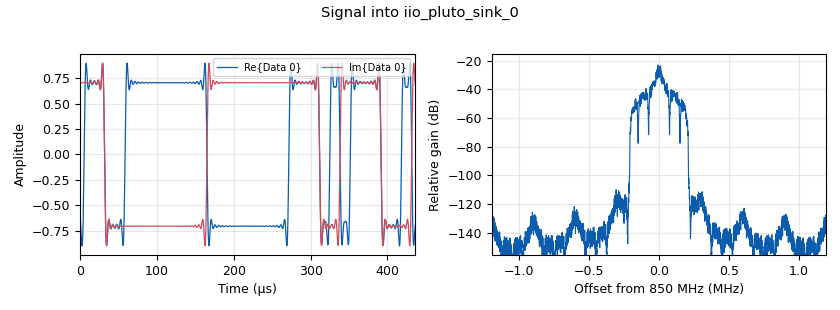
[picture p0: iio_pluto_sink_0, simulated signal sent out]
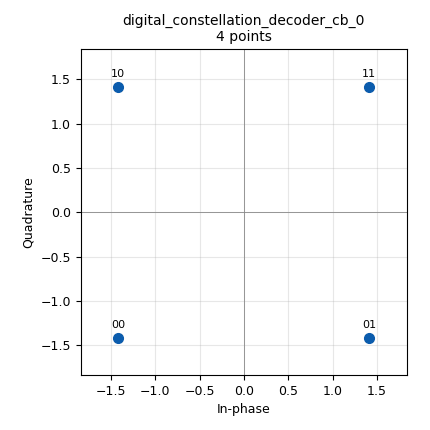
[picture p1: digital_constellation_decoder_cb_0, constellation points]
options:
  parameters:
    author: emmanuelkwakyenyantakyi
    generate_options: qt_gui
    id: msg_over_qpsk_6_5
    output_language: python
    title: Packet generation and reception over QPSK modem
  states: {}

blocks:
- name: audio_rate
  id: variable
  parameters:
    value: 44.1e3
  states: {}
- name: my_const_qpsk
  id: variable_constellation
  parameters:
    precision: '8'
    type: qpsk
  states: {}
- name: nfilts
  id: variable
  parameters:
    value: '16'
  states: {}
- name: rcv_len_key
  id: variable
  parameters:
    value: '"rcv_len_key"'
  states: {}
- name: rrc_taps
  id: variable
  parameters:
    value: firdes.root_raised_cosine(nfilts, nfilts * sps, 1.0, 0.4, int(5 * sps * nfilts))
  states: {}
- name: samp_rate
  id: variable
  parameters:
    value: 2.4e6
  states: {}
- name: sps
  id: variable
  parameters:
    value: '8'
  states: {}
- name: tr_len_key
  id: variable
  parameters:
    value: '"tr_len_key"'
  states: {}
- name: analog_agc_xx_0
  id: analog_agc_xx
  parameters:
    gain: '1.0'
    max_gain: '65536'
    rate: '1e-4'
    reference: '1.0'
    type: complex
  states: {}
- name: blocks_message_debug_0
  id: blocks_message_debug
  parameters: {}
  states: {}
- name: blocks_message_strobe_0
  id: blocks_message_strobe
  parameters:
    comment: Generate payload message
    msg: pmt.cons( pmt.make_dict(), pmt.to_pmt( numpy.array( [ord(c) for c in "To perfectly record and recreate a signal, you must sample it at least twice as fast as its highest frequency."], dtype=numpy.uint8 ) ) )
    period: '100'
  states: {}
- name: blocks_multiply_const_vxx_1
  id: blocks_multiply_const_vxx
  parameters:
    const: '0.5'
    type: complex
  states: {}
- name: blocks_repack_bits_bb_0
  id: blocks_repack_bits_bb
  parameters:
    endianness: gr.GR_MSB_FIRST
    k: '8'
    l: '1'
    len_tag_key: tr_len_key
  states: {}
- name: blocks_repack_bits_bb_1
  id: blocks_repack_bits_bb
  parameters:
    endianness: gr.GR_MSB_FIRST
    k: '1'
    l: '8'
    len_tag_key: rcv_len_key
  states: {}
- name: blocks_tagged_stream_mux_0
  id: blocks_tagged_stream_mux
  parameters:
    comment: Append header to payload
    lengthtagname: tr_len_key
    ninputs: '2'
    type: byte
  states: {}
- name: blocks_unpacked_to_packed_xx_0
  id: blocks_unpacked_to_packed_xx
  parameters:
    bits_per_chunk: '2'
    endianness: gr.GR_MSB_FIRST
    type: byte
  states: {}
- name: digital_constellation_decoder_cb_0
  id: digital_constellation_decoder_cb
  parameters:
    constellation: my_const_qpsk
  states: {}
- name: digital_constellation_modulator_0
  id: digital_constellation_modulator
  parameters:
    constellation: my_const_qpsk
    differential: 'True'
    excess_bw: '0.4'
    samples_per_symbol: sps
  states: {}
- name: digital_correlate_access_code_xx_ts_0
  id: digital_correlate_access_code_xx_ts
  parameters:
    access_code: '11100001010110101110100010010011'
    comment: |-
      Correlate with access code to 
      extract the payload
    tagname: rcv_len_key
    threshold: '0'
    type: byte
  states: {}
- name: digital_costas_loop_cc_0
  id: digital_costas_loop_cc
  parameters:
    order: '4'
    w: '0.0125664'
  states: {}
- name: digital_crc_append_0
  id: digital_crc_append
  parameters:
    poly: '0x4C11DB7'
  states: {}
- name: digital_crc_check_0
  id: digital_crc_check
  parameters:
    discard_crc: 'True'
    poly: '0x4C11DB7'
  states: {}
- name: digital_diff_decoder_bb_0
  id: digital_diff_decoder_bb
  parameters:
    coding: digital.DIFF_DIFFERENTIAL
    modulus: '4'
  states: {}
- name: digital_protocol_formatter_bb_0
  id: digital_protocol_formatter_bb
  parameters:
    comment: Generate header
    format: hdr_format
    len_tag_key: tr_len_key
  states: {}
- name: digital_symbol_sync_xx_0
  id: digital_symbol_sync_xx
  parameters:
    constellation: digital.constellation_qpsk().base()
    damping: '0.707107'
    loop_bw: '0.00628318'
    max_dev: '1.5'
    nfilters: '16'
    osps: '1'
    pfb_mf_taps: rrc_taps
    resamp_type: digital.IR_PFB_NO_MF
    sps: sps
    ted_gain: '1'
    ted_type: digital.TED_ZERO_CROSSING
    type: cc
  states: {}
- name: epy_block_0
  id: epy_block
  parameters:
    _source_code: |-
      import numpy as np
      from gnuradio import gr
      import pmt


      class blk(gr.basic_block):
          """Packet Print ASCII"""

          def __init__(self):
              gr.basic_block.__init__(
                  self,
                  name="Packet Print ASCII",
                  in_sig=None,
                  out_sig=None
              )

              # Register message input port
              self.message_port_register_in(pmt.intern("in"))

              # Set message handler
              self.set_msg_handler(
                  pmt.intern("in"),
                  self.handle_message
              )

          def handle_message(self, msg):

              # Extract payload from PDU
              payload = pmt.cdr(msg)

              # Convert PMT vector to NumPy array
              data = pmt.u8vector_elements(payload)

              # Convert bytes to ASCII text
              text = bytes(data).decode("ascii", errors="replace")

              # Print received message
              print(text)
  states: {}
- name: epy_block_1
  id: epy_block
  parameters:
    _source_code: |-
      import numpy as np
      from gnuradio import gr
      import pmt


      class blk(gr.basic_block):
          """Insert idle bits after each tagged packet."""

          def __init__(self, idle_bytes=24000, length_tag_key="tr_len_key"):
              gr.basic_block.__init__(
                  self,
                  name="Packet + Idle Bits",
                  in_sig=[np.uint8],
                  out_sig=[np.uint8],
              )

              self.idle_bytes = int(idle_bytes)
              self.length_tag_key = pmt.intern(length_tag_key)

              self.packet = []
              self.packet_remaining = 0
              self.idle_remaining = 0

          def general_work(self, input_items, output_items):
              inp = input_items[0]
              out = output_items[0]

              n_in = len(inp)
              n_out = len(out)

              consumed = 0
              produced = 0

              while produced < n_out:

                  # Output idle bits between packets.
                  if self.idle_remaining > 0:
                      count = min(self.idle_remaining, n_out - produced)
                      out[produced:produced + count] = np.random.randint(
                          0, 2, count, dtype=np.uint8
                      )
                      produced += count
                      self.idle_remaining -= count
                      continue

                  # Wait for a packet-length tag.
                  if self.packet_remaining == 0:
                      tags = self.get_tags_in_range(
                          0,
                          self.nitems_read(0) + consumed,
                          self.nitems_read(0) + consumed + 1,
                          self.length_tag_key,
                      )

                      if not tags:
                          break

                      self.packet_remaining = int(
                          pmt.to_long(tags[0].value)
                      )

                  # Copy the complete packet.
                  count = min(
                      self.packet_remaining,
                      n_in - consumed,
                      n_out - produced,
                  )

                  if count == 0:
                      break

                  out[produced:produced + count] = inp[
                      consumed:consumed + count
                  ]

                  consumed += count
                  produced += count
                  self.packet_remaining -= count

                  if self.packet_remaining == 0:
                      self.idle_remaining = self.idle_bytes

              self.consume(0, consumed)
              return produced
    idle_bytes: '10900'
    length_tag_key: tr_len_key
  states: {}
- name: hdr_format
  id: parameter
  parameters:
    label: Header formatter
    value: digital.header_format_default('11100001010110101110100010010011',0)
  states: {}
- name: iio_pluto_sink_0
  id: iio_pluto_sink
  parameters:
    attenuation1: '45'
    bandwidth: '20000000'
    buffer_size: '32768'
    comment: Message transmission (over the air)
    cyclic: 'False'
    filter_source: '''Auto'''
    frequency: int(850E6)
    samplerate: int(samp_rate)
    type: fc32
  states: {}
- name: iio_pluto_source_0
  id: iio_pluto_source
  parameters:
    bandwidth: '20000000'
    bbdc: 'True'
    buffer_size: '32768'
    comment: Message reception
    filter_source: '''Auto'''
    frequency: int(850e6)
    gain1: '''manual'''
    len_tag_key: ''
    manual_gain1: '10'
    quadrature: 'True'
    rfdc: 'True'
    samplerate: int(samp_rate)
    type: fc32
  states: {}
- name: import_0
  id: import
  parameters:
    imports: from gnuradio import digital
  states: {}
- name: import_1
  id: import
  parameters:
    imports: import numpy
  states: {}
- name: pdu_pdu_to_tagged_stream_0
  id: pdu_pdu_to_tagged_stream
  parameters:
    tag: tr_len_key
    type: byte
  states: {}
- name: pdu_tagged_stream_to_pdu_0
  id: pdu_tagged_stream_to_pdu
  parameters:
    tag: rcv_len_key
    type: byte
  states: {}
- name: qtgui_const_sink_x_0
  id: qtgui_const_sink_x
  parameters:
    autoscale: 'True'
    name: Constellation Diagram
    size: '1024'
    type: complex
  states: {}
- name: virtual_sink_0
  id: virtual_sink
  parameters:
    stream_id: to_mod
  states: {}
- name: virtual_sink_1
  id: virtual_sink
  parameters:
    stream_id: to_decode
  states: {}
- name: virtual_sink_2
  id: virtual_sink
  parameters:
    stream_id: to_demod
  states: {}
- name: virtual_source_0
  id: virtual_source
  parameters:
    stream_id: to_mod
  states: {}
- name: virtual_source_1
  id: virtual_source
  parameters:
    stream_id: to_decode
  states: {}
- name: virtual_source_3
  id: virtual_source
  parameters:
    stream_id: to_demod
  states: {}

connections:
- [analog_agc_xx_0, '0', digital_symbol_sync_xx_0, '0']
- [blocks_message_strobe_0, strobe, digital_crc_append_0, in]
- [blocks_multiply_const_vxx_1, '0', iio_pluto_sink_0, '0']
- [blocks_repack_bits_bb_0, '0', epy_block_1, '0']
- [blocks_repack_bits_bb_1, '0', pdu_tagged_stream_to_pdu_0, '0']
- [blocks_tagged_stream_mux_0, '0', blocks_repack_bits_bb_0, '0']
- [blocks_unpacked_to_packed_xx_0, '0', virtual_sink_1, '0']
- [digital_constellation_decoder_cb_0, '0', digital_diff_decoder_bb_0, '0']
- [digital_constellation_modulator_0, '0', blocks_multiply_const_vxx_1, '0']
- [digital_correlate_access_code_xx_ts_0, '0', blocks_repack_bits_bb_1, '0']
- [digital_costas_loop_cc_0, '0', qtgui_const_sink_x_0, '0']
- [digital_costas_loop_cc_0, '0', virtual_sink_2, '0']
- [digital_crc_append_0, out, pdu_pdu_to_tagged_stream_0, pdus]
- [digital_crc_check_0, fail, blocks_message_debug_0, print]
- [digital_crc_check_0, ok, epy_block_0, in]
- [digital_diff_decoder_bb_0, '0', blocks_unpacked_to_packed_xx_0, '0']
- [digital_protocol_formatter_bb_0, '0', blocks_tagged_stream_mux_0, '0']
- [digital_symbol_sync_xx_0, '0', digital_costas_loop_cc_0, '0']
- [epy_block_1, '0', virtual_sink_0, '0']
- [iio_pluto_source_0, '0', analog_agc_xx_0, '0']
- [pdu_pdu_to_tagged_stream_0, '0', blocks_tagged_stream_mux_0, '1']
- [pdu_pdu_to_tagged_stream_0, '0', digital_protocol_formatter_bb_0, '0']
- [pdu_tagged_stream_to_pdu_0, pdus, digital_crc_check_0, in]
- [virtual_source_0, '0', digital_constellation_modulator_0, '0']
- [virtual_source_1, '0', digital_correlate_access_code_xx_ts_0, '0']
- [virtual_source_3, '0', digital_constellation_decoder_cb_0, '0']

metadata:
  file_format: 1
  grc_version: 3.10.12.0
